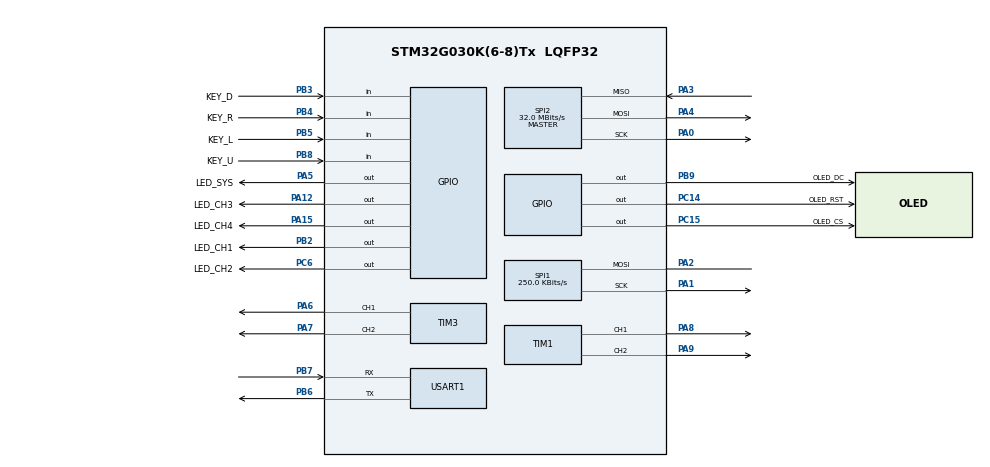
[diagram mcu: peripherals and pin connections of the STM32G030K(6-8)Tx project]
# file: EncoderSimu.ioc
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Mcu.Family=STM32G0
Mcu.Name=STM32G030K(6-8)Tx
Mcu.Package=LQFP32
NVIC.TIM14_IRQn=true\:0\:0\:false\:false\:true\:true\:true\:true
NVIC.TIM16_IRQn=true\:0\:0\:false\:false\:true\:true\:true\:true
NVIC.TIM17_IRQn=true\:3\:0\:false\:false\:true\:false\:true\:true
NVIC.TimeBase=TIM17_IRQn
NVIC.TimeBaseIP=TIM17
PA0.GPIO_Speed=GPIO_SPEED_FREQ_VERY_HIGH
PA0.Mode=Full_Duplex_Master
PA0.Signal=SPI2_SCK
PA1.GPIO_Speed=GPIO_SPEED_FREQ_VERY_HIGH
PA1.Mode=Simplex_Bidirectional_Master
PA1.Signal=SPI1_SCK
PA12\ [PA10].GPIO_Label=LED_CH3
PA12\ [PA10].PinState=GPIO_PIN_SET
PA12\ [PA10].Signal=GPIO_Output
PA13.Mode=Serial_Wire
PA13.Signal=SYS_SWDIO
PA14-BOOT0.Mode=Serial_Wire
PA14-BOOT0.Signal=SYS_SWCLK
PA15.GPIO_Label=LED_CH4
PA15.PinState=GPIO_PIN_SET
PA15.Signal=GPIO_Output
PA2.GPIO_Speed=GPIO_SPEED_FREQ_VERY_HIGH
PA2.Mode=Simplex_Bidirectional_Master
PA2.Signal=SPI1_MOSI
PA3.GPIO_Speed=GPIO_SPEED_FREQ_VERY_HIGH
PA3.Mode=Full_Duplex_Master
PA3.Signal=SPI2_MISO
PA4.GPIO_Speed=GPIO_SPEED_FREQ_VERY_HIGH
PA4.Mode=Full_Duplex_Master
PA4.Signal=SPI2_MOSI
PA5.GPIO_Label=LED_SYS
PA5.GPIO_Speed=GPIO_SPEED_FREQ_LOW
PA5.PinState=GPIO_PIN_SET
PA5.Signal=GPIO_Output
PA6.GPIO_Speed=GPIO_SPEED_FREQ_VERY_HIGH
PA6.Signal=S_TIM3_CH1
PA7.GPIO_Speed=GPIO_SPEED_FREQ_VERY_HIGH
PA7.Signal=S_TIM3_CH2
PA8.GPIO_Speed=GPIO_SPEED_FREQ_VERY_HIGH
PA8.PinState=GPIO_PIN_RESET
PA8.Signal=S_TIM1_CH1
PA9.GPIO_Speed=GPIO_SPEED_FREQ_VERY_HIGH
PA9.Signal=S_TIM1_CH2
PB2.GPIO_Label=LED_CH1
PB2.PinState=GPIO_PIN_SET
PB2.Signal=GPIO_Output
PB3.GPIO_Label=KEY_D
PB3.Signal=GPIO_Input
PB4.GPIO_Label=KEY_R
PB4.Signal=GPIO_Input
PB5.GPIO_Label=KEY_L
PB5.Signal=GPIO_Input
PB6.GPIO_Speed=GPIO_SPEED_FREQ_LOW
PB6.Mode=Asynchronous
PB6.Signal=USART1_TX
PB7.GPIO_Speed=GPIO_SPEED_FREQ_LOW
PB7.Mode=Asynchronous
PB7.Signal=USART1_RX
PB8.GPIO_Label=KEY_U
PB8.Signal=GPIO_Input
PB9.GPIO_Label=OLED_DC
PB9.Signal=GPIO_Output
PC14-OSC32_IN\ (PC14).GPIO_Label=OLED_RST
PC14-OSC32_IN\ (PC14).Signal=GPIO_Output
PC15-OSC32_OUT\ (PC15).GPIO_Label=OLED_CS
PC15-OSC32_OUT\ (PC15).Signal=GPIO_Output
PC6.GPIO_Label=LED_CH2
PC6.PinState=GPIO_PIN_SET
PC6.Signal=GPIO_Output
ProjectManager.HeapSize=0x200
ProjectManager.StackSize=0x400
ProjectManager.TargetToolchain=Makefile
RCC.ADCFreq_Value=64000000
RCC.AHBFreq_Value=64000000
RCC.CortexFreq_Value=64000000
RCC.EXTERNAL_CLOCK_VALUE=12288000
RCC.HCLKFreq_Value=64000000
RCC.HSE_VALUE=8000000
RCC.HSI_VALUE=16000000
RCC.LSE_VALUE=32768
RCC.SYSCLKFreq_VALUE=64000000
RCC.SYSCLKSource=RCC_SYSCLKSOURCE_PLLCLK
RCC.VCOOutputFreq_Value=128000000
SH.S_TIM1_CH1.0=TIM1_CH1,Output Compare1 CH1
SH.S_TIM1_CH2.0=TIM1_CH2,Output Compare2 CH2
SH.S_TIM3_CH1.0=TIM3_CH1,Output Compare1 CH1
SH.S_TIM3_CH2.0=TIM3_CH2,Output Compare2 CH2
SPI1.BaudRatePrescaler=SPI_BAUDRATEPRESCALER_256
SPI1.CalculateBaudRate=250.0 KBits/s
SPI1.Direction=SPI_DIRECTION_1LINE
SPI1.Mode=SPI_MODE_MASTER
SPI1.NSSPMode=SPI_NSS_PULSE_DISABLE
SPI1.VirtualType=VM_MASTER
SPI2.CalculateBaudRate=32.0 MBits/s
SPI2.Direction=SPI_DIRECTION_2LINES
SPI2.Mode=SPI_MODE_MASTER
SPI2.VirtualType=VM_MASTER
TIM1.Channel-Output\ Compare1\ CH1=TIM_CHANNEL_1
TIM1.Channel-Output\ Compare2\ CH2=TIM_CHANNEL_2
TIM1.OCIdleState_1=TIM_OCIDLESTATE_RESET
TIM1.OCMode_1=TIM_OCMODE_TOGGLE
TIM1.OCMode_2=TIM_OCMODE_TOGGLE
TIM1.OCPolarity_1=TIM_OCPOLARITY_HIGH
TIM3.Channel-Output\ Compare1\ CH1=TIM_CHANNEL_1
TIM3.Channel-Output\ Compare2\ CH2=TIM_CHANNEL_2
TIM3.OCMode_1=TIM_OCMODE_TOGGLE
TIM3.OCMode_2=TIM_OCMODE_TOGGLE
USART1.VirtualMode-Asynchronous=VM_ASYNC
VP_SYS_VS_tim17.Mode=TIM17
VP_TIM14_VS_ClockSourceINT.Mode=Enable_Timer
VP_TIM16_VS_ClockSourceINT.Mode=Enable_Timer
VP_TIM1_VS_ClockSourceINT.Mode=Internal
VP_TIM3_VS_ClockSourceINT.Mode=Internal
board=custom

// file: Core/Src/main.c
/* USER CODE BEGIN Header */
/**
  ******************************************************************************
  * @file           : main.c
  * @brief          : Main program body
  ******************************************************************************
  * @attention
  *
  * <h2><center>&copy; Copyright (c) 2022 STMicroelectronics.
  * All rights reserved.</center></h2>
  *
  * This software component is licensed by ST under BSD 3-Clause license,
  * the "License"; You may not use this file except in compliance with the
  * License. You may obtain a copy of the License at:
  *                        opensource.org/licenses/BSD-3-Clause
  *
  ******************************************************************************
  */
/* USER CODE END Header */
#include "main.h"
#include "spi.h"
#include "tim.h"
#include "usart.h"
#include "gpio.h"

/* USER CODE BEGIN Includes */
#include "u8g2_porting.h"
// #include "mui.h"
// #include "mui_u8g2.h"
#include "stdio.h"
#include "encoder_simu.h"
#include "ulog.h"
#include "string.h"
#include "menu.h"
#include "menu_u8g2.h"
#include "button.h"
/* USER CODE END Includes */

/* USER CODE BEGIN PV */
u8g2_t u;
/* USER CODE END PV */

void SystemClock_Config(void);

/* USER CODE BEGIN 0 */

/* USER CODE BEGIN PFP */

void logger_fn1(ulog_level_t severity, char *msg)
{
  char endl = '\n';
  uint16_t len = strlen(msg);
  for (int i = 0; i < len; ++i)
  {
    while (!LL_USART_IsActiveFlag_TXE(USART1));
    LL_USART_TransmitData8(USART1, msg[i]);
  }
  while (!LL_USART_IsActiveFlag_TXE(USART1));
  LL_USART_TransmitData8(USART1, endl);
}

void btn_handle_press(button_t *btn)
{
    extern void up(void);
    extern void down(void);
    extern void enter(void);
    extern void home(void);

    if ('U' == btn->name[0])
    {
      up();
    }
    else if ('D' == btn->name[0])
    {
      down();
    }
    else if ('L' == btn->name[0])
    {
      home();
    }
    else if ('R' == btn->name[0])
    {
      enter();
    }
}

struct stm32_gpio_btn
{
  button_t btn;
  GPIO_TypeDef *port;
  uint32_t pin;
};

struct stm32_gpio_btn btn_map[] =
{
  {.port= GPIOB, .pin = GPIO_PIN_8},
  {.port= GPIOB, .pin = GPIO_PIN_3},
  {.port= GPIOB, .pin = GPIO_PIN_5},
  {.port= GPIOB, .pin = GPIO_PIN_4},
};

int pin_read(button_t *btn)
{
    struct stm32_gpio_btn *gpio_btn = NULL;
    if (NULL == btn)
    {
        return 0;
    }

    gpio_btn = container_of(btn, struct stm32_gpio_btn, btn);
    return HAL_GPIO_ReadPin(gpio_btn->port, gpio_btn->pin);
}

int regitster_button(void)
{
    button_cfg_t cfg = BTN_CFG_DEFAULE;

    cfg.pin_read = pin_read;
    cfg.debounce = 1;
    button_init(&(btn_map[0].btn), "U", cfg, BTN_FLAG_START);
    button_init(&(btn_map[1].btn), "D", cfg, BTN_FLAG_START);
    button_init(&(btn_map[2].btn), "L", cfg, BTN_FLAG_START);
    button_init(&(btn_map[3].btn), "R", cfg, BTN_FLAG_START);

    button_attach(&(btn_map[0].btn), BTN_PRESS_DOWN, btn_handle_press);
    button_attach(&(btn_map[1].btn), BTN_PRESS_DOWN, btn_handle_press);
    button_attach(&(btn_map[2].btn), BTN_PRESS_DOWN, btn_handle_press);
    button_attach(&(btn_map[3].btn), BTN_PRESS_DOWN, btn_handle_press);

    return 0;
}

/* USER CODE END 0 */

int main(void)
{

  /* MCU Configuration--------------------------------------------------------*/

  /* Reset of all peripherals, Initializes the Flash interface and the Systick. */
  HAL_Init();

  /* Configure the system clock */
  SystemClock_Config();

  /* Initialize all configured peripherals */
  MX_GPIO_Init();
  MX_USART1_UART_Init();
  MX_SPI1_Init();
  MX_SPI2_Init();
  MX_TIM1_Init();
  MX_TIM3_Init();
  MX_TIM14_Init();
  MX_TIM16_Init();
  /* USER CODE BEGIN 2 */
  MX_ENC_GPIO_Init();
  /* USER CODE END 2 */

  /* Infinite loop */
  /* USER CODE BEGIN WHILE */

  u8g2_oled_init(&u);
  menu_api_register_handle((void *)(&u));

  ULOG_INIT();
  ULOG_SUBSCRIBE(logger_fn1, ULOG_DEBUG_LEVEL);

  ULOG_DEBUG("Copyright (c) 2022  Shanghai AureFluidics Technology Co.,Ltd");
  ULOG_DEBUG("Encoder Simulator v1.0");

  regitster_button();

  while (1)
  {

    // HAL_Delay(500);
    // HAL_GPIO_TogglePin(LED_SYS_GPIO_Port, LED_SYS_Pin);

    menu();

    /* USER CODE END WHILE */

  }
}

void SystemClock_Config(void)
{
  LL_FLASH_SetLatency(LL_FLASH_LATENCY_2);
  while(LL_FLASH_GetLatency() != LL_FLASH_LATENCY_2)
  {
  }

  /* HSI configuration and activation */
  LL_RCC_HSI_Enable();
  while(LL_RCC_HSI_IsReady() != 1)
  {
  }

  /* Main PLL configuration and activation */
  LL_RCC_PLL_ConfigDomain_SYS(LL_RCC_PLLSOURCE_HSI, LL_RCC_PLLM_DIV_1, 8, LL_RCC_PLLR_DIV_2);
  LL_RCC_PLL_Enable();
  LL_RCC_PLL_EnableDomain_SYS();
  while(LL_RCC_PLL_IsReady() != 1)
  {
  }

  /* Set AHB prescaler*/
  LL_RCC_SetAHBPrescaler(LL_RCC_SYSCLK_DIV_1);

  /* Sysclk activation on the main PLL */
  LL_RCC_SetSysClkSource(LL_RCC_SYS_CLKSOURCE_PLL);
  while(LL_RCC_GetSysClkSource() != LL_RCC_SYS_CLKSOURCE_STATUS_PLL)
  {
  }

  /* Set APB1 prescaler*/
  LL_RCC_SetAPB1Prescaler(LL_RCC_APB1_DIV_1);
  /* Update CMSIS variable (which can be updated also through SystemCoreClockUpdate function) */
  LL_SetSystemCoreClock(64000000);

   /* Update the time base */
  if (HAL_InitTick (TICK_INT_PRIORITY) != HAL_OK)
  {
    Error_Handler();
  }
}

void HAL_TIM_PeriodElapsedCallback(TIM_HandleTypeDef *htim)
{
  if (htim->Instance == TIM17) {
    HAL_IncTick();
  }
}

void Error_Handler(void)
{
  __disable_irq();
  while (1)
  {
  }
}
